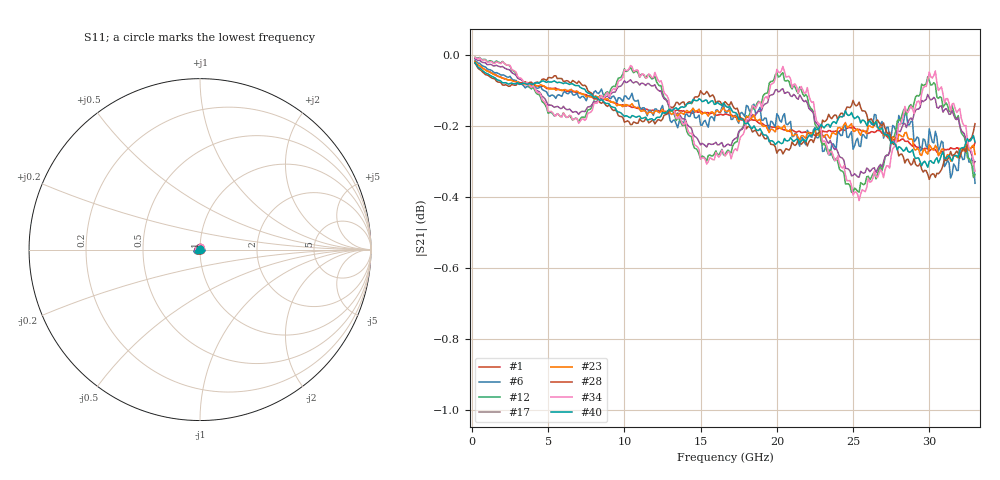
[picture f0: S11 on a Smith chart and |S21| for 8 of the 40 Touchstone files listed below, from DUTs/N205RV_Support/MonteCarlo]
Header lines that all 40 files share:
# GHZ S RI R 50
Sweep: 200 MHz to 33 GHz
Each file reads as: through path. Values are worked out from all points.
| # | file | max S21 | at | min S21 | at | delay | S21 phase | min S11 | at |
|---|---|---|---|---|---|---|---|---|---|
| 1 | N205RV_2.s2p | -0.02 dB | 200 MHz | -0.3 dB | 30.6 GHz | 248 ps | -42 deg at 16.6 GHz | -70.2 dB | 500 MHz |
| 2 | N205RV_3.s2p | -0.02 dB | 200 MHz | -0.4 dB | 29.9 GHz | 248 ps | -42 deg at 16.6 GHz | -81.4 dB | 500 MHz |
| 3 | N205RV_4.s2p | -0.02 dB | 200 MHz | -0.3 dB | 33 GHz | 248 ps | -42 deg at 16.6 GHz | -75.5 dB | 1 GHz |
| 4 | N205RV_6.s2p | -0.02 dB | 200 MHz | -0.3 dB | 33 GHz | 248 ps | -42 deg at 16.6 GHz | -72.6 dB | 400 MHz |
| 5 | N205RV_7.s2p | -0.01 dB | 200 MHz | -0.4 dB | 33 GHz | 248 ps | -42 deg at 16.6 GHz | -73.1 dB | 600 MHz |
| 6 | N205RV_8.s2p | -0.02 dB | 200 MHz | -0.4 dB | 33 GHz | 248 ps | -42 deg at 16.6 GHz | -79.6 dB | 800 MHz |
| 7 | N205RV_10.s2p | 0.08 dB | 30.4 GHz | -0.5 dB | 25.4 GHz | 248 ps | -42 deg at 16.6 GHz | -71.3 dB | 600 MHz |
| 8 | N205RV_12.s2p | -0.02 dB | 200 MHz | -0.4 dB | 31.5 GHz | 248 ps | -42 deg at 16.6 GHz | -87.2 dB | 400 MHz |
| 9 | N205RV_14.s2p | -0.02 dB | 200 MHz | -0.3 dB | 30.6 GHz | 248 ps | -42 deg at 16.6 GHz | -68.8 dB | 500 MHz |
| 10 | N205RV_15.s2p | 0.03 dB | 30 GHz | -0.5 dB | 25 GHz | 248 ps | -42 deg at 16.6 GHz | -76.0 dB | 600 MHz |
| 11 | N205RV_16.s2p | -0.02 dB | 200 MHz | -0.3 dB | 30.6 GHz | 248 ps | -42 deg at 16.6 GHz | -77.1 dB | 400 MHz |
| 12 | N205RV_17.s2p | -0.01 dB | 200 MHz | -0.4 dB | 24.9 GHz | 248 ps | -42 deg at 16.6 GHz | -94.7 dB | 600 MHz |
| 13 | N205RV_18.s2p | -0.01 dB | 200 MHz | -0.3 dB | 25.4 GHz | 248 ps | -42 deg at 16.6 GHz | -69.4 dB | 200 MHz |
| 14 | N205RV_19.s2p | -0.02 dB | 200 MHz | -0.4 dB | 30.4 GHz | 248 ps | -42 deg at 16.6 GHz | -74.4 dB | 500 MHz |
| 15 | N205RV_20.s2p | -0.02 dB | 200 MHz | -0.3 dB | 30 GHz | 248 ps | -42 deg at 16.6 GHz | -72.8 dB | 400 MHz |
| 16 | N205RV_21.s2p | -0.01 dB | 200 MHz | -0.4 dB | 24.9 GHz | 248 ps | -42 deg at 16.6 GHz | -70.7 dB | 600 MHz |
| 17 | N205RV_25.s2p | -0.01 dB | 200 MHz | -0.3 dB | 25.4 GHz | 248 ps | -42 deg at 16.6 GHz | -71.9 dB | 600 MHz |
| 18 | N205RV_26.s2p | -0.02 dB | 200 MHz | -0.3 dB | 30.6 GHz | 248 ps | -42 deg at 16.6 GHz | -77.2 dB | 1.1 GHz |
| 19 | N205RV_29.s2p | -0.01 dB | 200 MHz | -0.3 dB | 24.9 GHz | 248 ps | -42 deg at 16.6 GHz | -72.9 dB | 600 MHz |
| 20 | N205RV_30.s2p | -0.02 dB | 200 MHz | -0.3 dB | 32.9 GHz | 248 ps | -42 deg at 16.6 GHz | -70.7 dB | 600 MHz |
| 21 | N205RV_31.s2p | 0.09 dB | 30 GHz | -0.5 dB | 25.4 GHz | 248 ps | -42 deg at 16.6 GHz | -83.7 dB | 600 MHz |
| 22 | N205RV_35.s2p | -0.02 dB | 200 MHz | -0.3 dB | 30.6 GHz | 248 ps | -42 deg at 16.6 GHz | -73.4 dB | 500 MHz |
| 23 | N205RV_36.s2p | -0.02 dB | 200 MHz | -0.3 dB | 31.4 GHz | 248 ps | -42 deg at 16.6 GHz | -78.9 dB | 600 MHz |
| 24 | N205RV_37.s2p | -0.02 dB | 200 MHz | -0.3 dB | 30 GHz | 248 ps | -42 deg at 16.6 GHz | -93.3 dB | 400 MHz |
| 25 | N205RV_38.s2p | -0.02 dB | 200 MHz | -0.3 dB | 29.9 GHz | 248 ps | -42 deg at 16.6 GHz | -78.7 dB | 400 MHz |
| 26 | N205RV_40.s2p | -0.01 dB | 200 MHz | -0.4 dB | 25.4 GHz | 248 ps | -42 deg at 16.6 GHz | -73.2 dB | 600 MHz |
| 27 | N205RV_43.s2p | 0.11 dB | 30 GHz | -0.6 dB | 25.4 GHz | 248 ps | -41 deg at 16.6 GHz | -80.3 dB | 600 MHz |
| 28 | N205RV_44.s2p | -0.02 dB | 200 MHz | -0.4 dB | 30 GHz | 248 ps | -42 deg at 16.6 GHz | -83.6 dB | 400 MHz |
| 29 | N205RV_45.s2p | -0.02 dB | 200 MHz | -0.4 dB | 30.4 GHz | 248 ps | -42 deg at 16.6 GHz | -93.7 dB | 400 MHz |
| 30 | N205RV_48.s2p | -0.02 dB | 200 MHz | -0.4 dB | 30.4 GHz | 248 ps | -42 deg at 16.6 GHz | -81.2 dB | 400 MHz |
| 31 | N205RV_50.s2p | -0.02 dB | 200 MHz | -0.4 dB | 30.4 GHz | 248 ps | -42 deg at 16.6 GHz | -73.9 dB | 400 MHz |
| 32 | N205RV_53.s2p | -0.02 dB | 200 MHz | -0.3 dB | 31.4 GHz | 248 ps | -42 deg at 16.6 GHz | -68.9 dB | 200 MHz |
| 33 | N205RV_55.s2p | -0.01 dB | 200 MHz | -0.3 dB | 25.4 GHz | 248 ps | -42 deg at 16.6 GHz | -78.3 dB | 800 MHz |
| 34 | N205RV_56.s2p | -0.01 dB | 200 MHz | -0.4 dB | 25.4 GHz | 248 ps | -42 deg at 16.6 GHz | -69.6 dB | 600 MHz |
| 35 | N205RV_60.s2p | -0.02 dB | 200 MHz | -0.3 dB | 31.4 GHz | 248 ps | -42 deg at 16.6 GHz | -75.4 dB | 1 GHz |
| 36 | N205RV_62.s2p | -0.02 dB | 200 MHz | -0.3 dB | 31.4 GHz | 248 ps | -42 deg at 16.6 GHz | -73.9 dB | 400 MHz |
| 37 | N205RV_64.s2p | -0.02 dB | 200 MHz | -0.3 dB | 30 GHz | 248 ps | -42 deg at 16.6 GHz | -74.7 dB | 500 MHz |
| 38 | N205RV_65.s2p | 0.08 dB | 30 GHz | -0.5 dB | 25 GHz | 248 ps | -41 deg at 16.6 GHz | -76.2 dB | 600 MHz |
| 39 | N205RV_66.s2p | -0.02 dB | 200 MHz | -0.3 dB | 28.4 GHz | 248 ps | -42 deg at 16.6 GHz | -82.3 dB | 400 MHz |
| 40 | N205RV_67.s2p | -0.02 dB | 200 MHz | -0.3 dB | 29.9 GHz | 248 ps | -42 deg at 16.6 GHz | -80.1 dB | 400 MHz |
